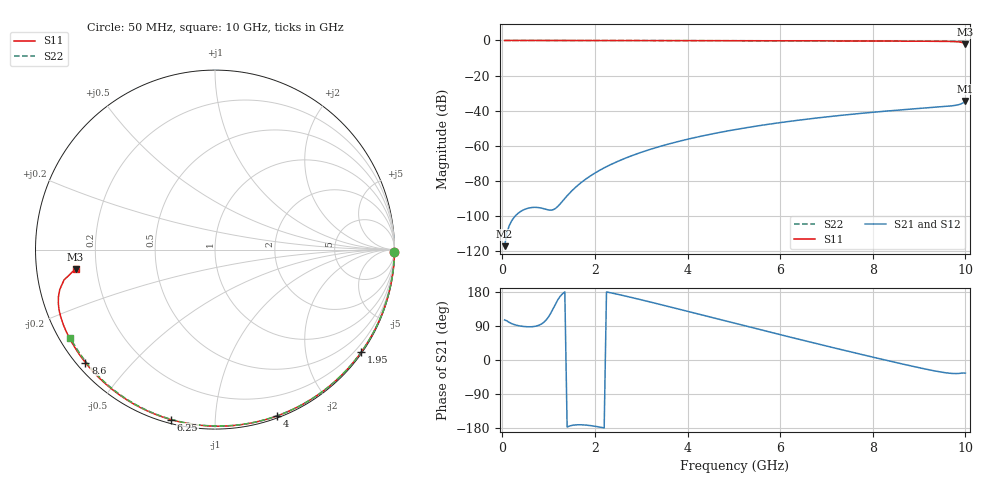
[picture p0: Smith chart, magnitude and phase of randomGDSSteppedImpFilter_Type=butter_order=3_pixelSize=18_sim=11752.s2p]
! freq	dB(S11)	phase(S11)	dB(S12)	phase(S12)
!  dB(S21)	phase(S21)	dB(S22)	phase(S22)
!S-par simulation data
#  GHz  S  DB  R 50
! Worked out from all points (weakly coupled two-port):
!   200 points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, 50 MHz to 10 GHz, reference 50 ohm
!   highest |S21| = -34.41 dB at 10 GHz (marker M1); lowest = -117.1 dB at 50 MHz (marker M2)
!   lowest |S11| = -2.1 dB at 10 GHz (marker M3), VSWR 8.27, Z = 6.07 - j3.39 ohm
!   |S11| at or under -10 dB: nowhere
!   |S22| runs from -0.5 to 0.0 dB; largest |S21 - S12| = 0
!   S11 on the Smith chart (normalised r, x): 50 MHz: open; 1.95 GHz: 0.03, -3.17; 4 GHz: 0.02, -1.44; 6.25 GHz: 0.02, -0.77; 8.6 GHz: 0.02, -0.37; 10 GHz: 0.12, -0.07
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0.05  -0.00 -0.9  -117.08 105.8  -117.08 105.8  -0.00 -0.9
0.85  -0.02 -15.5  -95.46 95.4  -95.46 95.4  -0.02 -14.6
1.75  -0.04 -31.5  -79.92 -171.2  -79.92 -171.2  -0.04 -29.7
1.95  -0.04 -35.1  -76.29 -173.9  -76.29 -173.9  -0.04 -33.0
2.25  -0.05 -40.3  -71.83 179.7  -71.83 179.7  -0.05 -38.0
2.6  -0.06 -46.3  -67.62 170.4  -67.62 170.4  -0.06 -43.7
3  -0.07 -53.1  -63.67 158.9  -63.67 158.9  -0.07 -50.1
3.4  -0.08 -59.8  -60.35 146.9  -60.35 146.9  -0.08 -56.4
4  -0.10 -69.7  -56.23 128.5  -56.23 128.5  -0.09 -65.7
5.05  -0.13 -86.3  -50.63 96.0  -50.63 96.0  -0.13 -81.4
5.65  -0.16 -95.5  -48.08 77.6  -48.08 77.6  -0.15 -90.0
6.25  -0.19 -104.4  -45.88 59.4  -45.88 59.4  -0.18 -98.5
6.7  -0.22 -111.1  -44.41 45.8  -44.41 45.8  -0.20 -104.7
7.5  -0.27 -122.8  -42.13 22.1  -42.13 22.1  -0.26 -115.5
8.35  -0.35 -135.2  -40.07 -2.4  -40.07 -2.4  -0.33 -126.8
8.6  -0.37 -138.9  -39.52 -9.4  -39.52 -9.4  -0.35 -130.1
9.25  -0.46 -149.2  -38.21 -26.7  -38.21 -26.7  -0.42 -138.7
9.65  -0.57 -157.0  -37.37 -34.8  -37.37 -34.8  -0.46 -143.9
9.8  -0.71 -161.2  -36.86 -35.8  -36.86 -35.8  -0.48 -145.9
9.9  -0.98 -165.5  -36.17 -35.0  -36.17 -35.0  -0.49 -147.2
9.95  -1.32 -168.6  -35.50 -34.2  -35.50 -34.2  -0.50 -147.9
10  -2.11 -172.1  -34.41 -34.5  -34.41 -34.5  -0.50 -148.6
